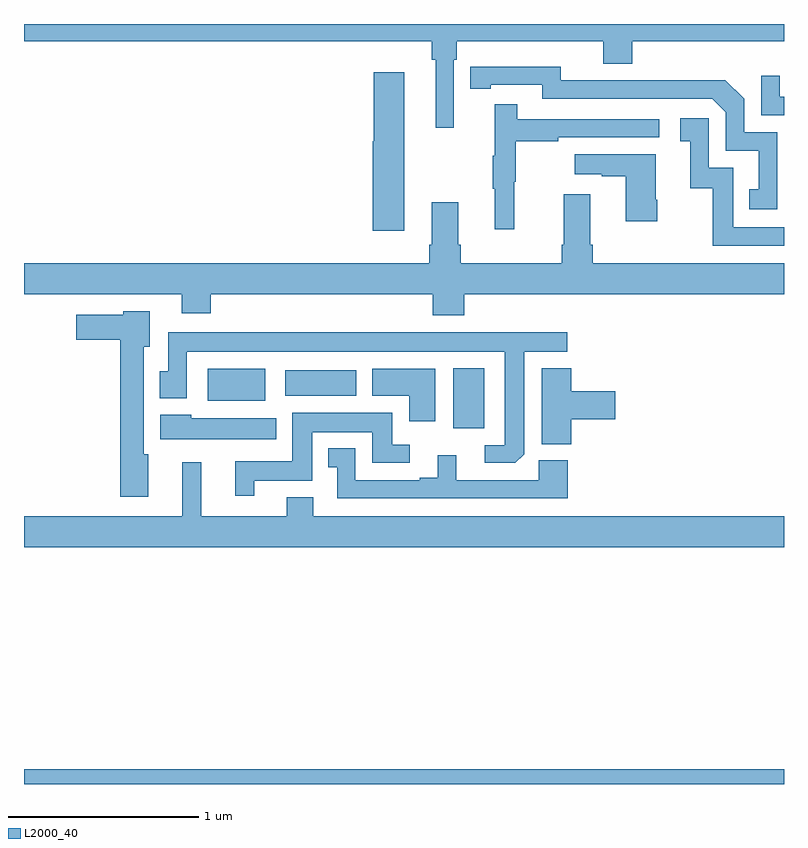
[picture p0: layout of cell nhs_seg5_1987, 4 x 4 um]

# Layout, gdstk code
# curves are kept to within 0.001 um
import gdstk
lib = gdstk.Library(unit=1e-6, precision=1e-09)
def R(c, l, rs):  # rectangles x0, y0, x1, y1
    for r in rs: c.add(gdstk.rectangle(r[:2], r[2:], *l))
def P(c, l, *ps):  # polygons
    for p in ps: c.add(gdstk.Polygon(p, *l))
L2000_40 = (2000, 40)

nhs_seg5_1987 = lib.new_cell('nhs_seg5_1987')
R(nhs_seg5_1987, L2000_40, [(227,904.799,231,904.876), (229.259,906.672,229.423,906.988), (227.966,906.815,228.271,906.985), (228.375,906.842,228.748,906.976)])
P(nhs_seg5_1987, L2000_40, [(230.048,908.591),(230.201,908.591),(230.201,908.708),(231,908.708),(231,908.799),(227,908.799),(227,908.708),(229.147,908.708),(229.147,908.612),(229.166,908.612),(229.166,908.253),(229.263,908.253),(229.263,908.612),(229.277,908.612),(229.277,908.708),(230.048,908.708)],
  [(230.964,908.229),(230.79,908.229),(230.79,908.406),(230.692,908.504),(230.284,908.504),(230.284,908.502),(229.824,908.502),(229.824,908.575),(229.348,908.574),(229.348,908.458),(229.456,908.458),(229.456,908.478),(229.728,908.478),(229.728,908.406),(230.622,908.406),(230.694,908.334),(230.694,908.133),(230.867,908.133),(230.867,907.929),(230.818,907.929),(230.818,907.824),(230.964,907.824)],
  [(229,908.545),(228.842,908.545),(228.842,908.181),(228.836,908.181),(228.836,907.71),(229,907.71)],
  [(231,908.415),(230.977,908.415),(230.977,908.527),(230.88,908.527),(230.88,908.319),(231,908.319)],
  [(229.58,907.968),(229.588,907.968),(229.588,908.182),(229.811,908.182),(229.811,908.202),(230.344,908.202),(230.344,908.298),(229.595,908.298),(229.595,908.377),(229.478,908.377),(229.478,908.105),(229.467,908.105),(229.467,907.931),(229.478,907.931),(229.478,907.719),(229.58,907.719)],
  [(231,907.728),(230.733,907.728),(230.733,908.043),(230.604,908.043),(230.604,908.302),(230.454,908.302),(230.454,908.181),(230.507,908.181),(230.507,907.935),(230.625,907.935),(230.625,907.632),(231,907.632)],
  [(230.334,907.873),(230.326,907.873),(230.326,908.113),(229.899,908.113),(229.899,908.009),(230.042,908.009),(230.042,907.999),(230.168,907.999),(230.168,907.761),(230.334,907.761)],
  [(229.145,907.861),(229.145,907.636),(229.133,907.636),(229.133,907.54),(227,907.54),(227,907.376),(227.831,907.376),(227.831,907.277),(227.984,907.277),(227.984,907.376),(229.151,907.376),(229.151,907.265),(229.316,907.265),(229.316,907.376),(231,907.376),(231,907.54),(229.994,907.54),(229.994,907.636),(229.981,907.636),(229.981,907.903),(229.841,907.903),(229.841,907.636),(229.829,907.636),(229.829,907.54),(229.298,907.54),(229.298,907.636),(229.285,907.636),(229.285,907.861)],
  [(227.653,906.534),(227.629,906.534),(227.629,907.101),(227.662,907.101),(227.662,907.288),(227.523,907.288),(227.523,907.27),(227.274,907.27),(227.274,907.136),(227.507,907.136),(227.507,906.312),(227.653,906.312)],
  [(229.632,906.535),(229.633,907.073),(229.858,907.073),(229.858,907.177),(227.759,907.177),(227.759,906.972),(227.714,906.972),(227.714,906.828),(227.856,906.828),(227.856,907.073),(229.529,907.073),(229.529,906.582),(229.425,906.582),(229.425,906.489),(229.586,906.489)],
  [(229.88,906.719),(230.113,906.719),(230.113,906.866),(229.88,906.866),(229.88,906.988),(229.724,906.988),(229.724,906.587),(229.88,906.587)],
  [(229.165,906.985),(228.833,906.985),(228.833,906.842),(229.028,906.842),(229.028,906.708),(229.165,906.708)],
  [(228.211,906.395),(228.517,906.395),(228.517,906.65),(228.833,906.65),(228.833,906.489),(229.03,906.489),(229.03,906.585),(228.937,906.585),(228.937,906.754),(228.413,906.754),(228.413,906.499),(228.113,906.499),(228.113,906.315),(228.211,906.315)],
  [(228.328,906.724),(227.88,906.724),(227.88,906.742),(227.718,906.742),(227.718,906.614),(228.328,906.614)],
  [(229.862,906.502),(229.71,906.502),(229.71,906.399),(229.276,906.399),(229.276,906.529),(229.178,906.529),(229.178,906.412),(229.082,906.412),(229.082,906.399),(228.744,906.399),(228.744,906.565),(228.602,906.565),(228.602,906.465),(228.648,906.465),(228.648,906.303),(229.862,906.303)],
  [(231,906.208),(228.523,906.208),(228.523,906.307),(228.383,906.307),(228.383,906.208),(227.933,906.208),(227.933,906.493),(227.834,906.493),(227.834,906.208),(227,906.208),(227,906.044),(231,906.044)])

lib.write_gds('nhs_seg5_1987.gds')
